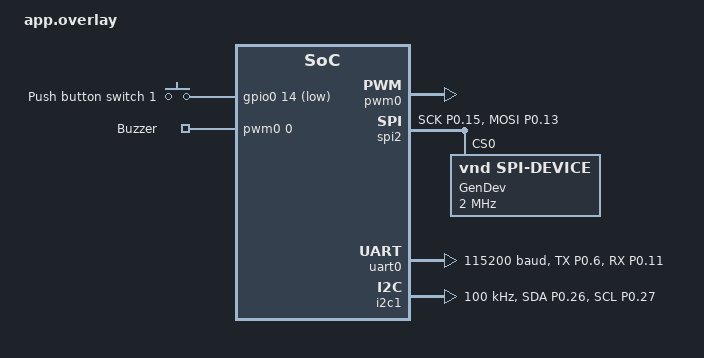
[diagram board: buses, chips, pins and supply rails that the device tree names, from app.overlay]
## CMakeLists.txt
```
cmake_minimum_required(VERSION 3.20.0)
find_package(Zephyr REQUIRED HINTS $ENV{ZEPHYR_BASE})

project(WallNet_1)

zephyr_include_directories(inc)

target_sources(app PRIVATE 
    src/main.c
    src/wallnet_ble.c
    src/wallnet_ui.c
    src/fp_commands.c
    src/fp_commands.h
    src/wallnet_gps.c
    src/buzzer.c
    src/buzzer.h
    src/wallnet_rfid.c
    src/wallnet_rfid.h
    src/eink.h
    src/eink.c
    src/bq.c
)
```

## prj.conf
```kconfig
# Hardware Bus Drivers
CONFIG_I2C=y
CONFIG_GPIO=y
CONFIG_SPI=y
CONFIG_SERIAL=y
CONFIG_UART_INTERRUPT_DRIVEN=y

CONFIG_I2C_NRFX=y
CONFIG_NRFX_TWIM=y

# Console & Logging (RTT)
CONFIG_LOG=y
CONFIG_LOG_DEFAULT_LEVEL=2
CONFIG_CONSOLE=y
CONFIG_PRINTK=y
CONFIG_USE_SEGGER_RTT=y
CONFIG_RTT_CONSOLE=y
CONFIG_UART_CONSOLE=n
CONFIG_SEGGER_RTT_BUFFER_SIZE_UP=4096
CONFIG_CBPRINTF_FP_SUPPORT=y

# BLE
CONFIG_BT=y
CONFIG_BT_PERIPHERAL=y
CONFIG_BT_DEVICE_NAME="WallNet"
CONFIG_MAIN_STACK_SIZE=2048

# BLE Security
CONFIG_BT_SMP=y
CONFIG_BT_BONDABLE=y
CONFIG_BT_MAX_PAIRED=1
CONFIG_SETTINGS=y
CONFIG_BT_SETTINGS=y

# NVS
CONFIG_FLASH=y
CONFIG_FLASH_PAGE_LAYOUT=y
CONFIG_NVS=y
CONFIG_SETTINGS_NVS=y
CONFIG_FLASH_MAP=y

CONFIG_REBOOT=y

CONFIG_INPUT=y

#PWM 
CONFIG_PWM=y
CONFIG_LED=y
```

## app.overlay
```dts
#include <zephyr/dt-bindings/input/input-event-codes.h>
/ {
    aliases {
        sw1 = &button1;
    };

    // whatever main control button is
    buttons {
        compatible = "gpio-keys";
        debounce-interval-ms = <50>;
        
        button1: button_1 {
            gpios = <&gpio0 14 (GPIO_PULL_UP | GPIO_ACTIVE_LOW)>;
            label = "Push button switch 1";
            zephyr,code = <INPUT_KEY_1>;
        };
    };

    /* PWM-controlled buzzer */
    buzzer_pwm: pwm-buzzer {
        compatible = "pwm-leds";

        buzzer0: buzzer_0 {
            label = "Buzzer";
            pwms = <&pwm0 0 250000 125000 0>; /* PWM on pwm0, channel 0, 250000ns period, 50% duty cycle, active high */
        };
    };
};

&pwm0_default {
    group1 {
        psels = <NRF_PSEL(PWM_OUT0, 0, 12)>;
    };
};

&pwm0_sleep {
    group1 {
        psels = <NRF_PSEL(PWM_OUT0, 0, 12)>;
    };
};

&pwm0 {
    status = "okay";

    /* THIS is what selects the GPIO pin */
    pinctrl-0 = <&pwm0_default>;
    pinctrl-names = "default", "sleep";
    
};


&pinctrl {
    /* change below to bmu stuff (idk pins rn - battery schematic) */

    // i2c0_default: i2c0_default {
    //     // gooked up to gps rn
    //     group1 {
    //         psels = <NRF_PSEL(TWIM_SDA, 0, 7)>,
    //                 <NRF_PSEL(TWIM_SCL, 0, 8)>;
    //         bias-pull-up;
    //     };
    // };

    // i2c0_sleep: i2c0_sleep {
    //     group1 {
    //         psels = <NRF_PSEL(TWIM_SDA, 0, 7)>,
    //                 <NRF_PSEL(TWIM_SCL, 0, 8)>;
    //         low-power-enable;
    //     };
    // };

    uart0_default: uart0_default {
        group1 {
        
            // Active pin state - TX on P0.06, RX on P0.11
            psels = <NRF_PSEL(UART_TX, 0, 6)>,
                    <NRF_PSEL(UART_RX, 0, 11)>;
        };
    };
    uart0_sleep: uart0_sleep {
        group1 {

            // Sleep pin state - same pins but low power mode enabled
            psels = <NRF_PSEL(UART_TX, 0, 6)>,
                    <NRF_PSEL(UART_RX, 0, 11)>;
            low-power-enable;
        };
    };

    i2c1_default: i2c1_default {
        group1 {
            psels = <NRF_PSEL(TWIM_SDA, 0, 26)>,
                    <NRF_PSEL(TWIM_SCL, 0, 27)>;
        };
    };

    i2c1_sleep: i2c1_sleep {
        group1 {
            psels = <NRF_PSEL(TWIM_SDA, 0, 26)>,
                    <NRF_PSEL(TWIM_SCL, 0, 27)>;
            low-power-enable;
        };
    };

    spi2_default: spi2_default {
		group1 {
			psels = <NRF_PSEL(SPIM_SCK, 0, 15)>,
				<NRF_PSEL(SPIM_MOSI, 0, 13)>;
		};
	};
	spi2_sleep: spi2_sleep {
		group1 {
			psels = <NRF_PSEL(SPIM_SCK, 0, 15)>,
				<NRF_PSEL(SPIM_MOSI, 0, 13)>;
		};
	};

};

//SPI for eink display - change pins to whatever is on the schematic for eink
&spi2 {
        compatible = "nordic,nrf-spi";
        status = "okay";
        pinctrl-0 = <&spi2_default>;
        pinctrl-1 = <&spi2_sleep>;
        pinctrl-names = "default", "sleep";
        
        gendev: gendev@0 {
                compatible = "vnd,spi-device";
                reg = <0>;
                spi-max-frequency = <2000000>;
                label = "GenDev";
        };
};

/* UART0 peripheral configuration - used for FP data at 115200 baud */
&uart0 {
    status = "okay";
    current-speed = <115200>;
    // state 0: active
    pinctrl-0 = <&uart0_default>;
    // state 1: sleep
    pinctrl-1 = <&uart0_sleep>;
    pinctrl-names = "default", "sleep";
};

// i2c0: BMU READS: change "disabled" to "okay"
&i2c0 {
    status = "disabled";
    pinctrl-0 = <&i2c0_default>;
    pinctrl-1 = <&i2c0_sleep>;
    pinctrl-names = "default", "sleep";
    clock-frequency = <I2C_BITRATE_STANDARD>;
    compatible = "nordic,nrf-twim";

    zephyr,concat-buf-size = <512>;
    zephyr,flash-buf-max-size = <512>;
};

// disable spi1 so we can use i2c1
&spi1 {
    status = "disabled";
};

&i2c1 {
    status = "okay";
    pinctrl-0 = <&i2c1_default>;
    pinctrl-1 = <&i2c1_sleep>;
    pinctrl-names = "default", "sleep";
    clock-frequency = <I2C_BITRATE_STANDARD>;
    compatible = "nordic,nrf-twim";
    
    zephyr,concat-buf-size = <512>;
    zephyr,flash-buf-max-size = <512>;
};
```

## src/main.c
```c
#include <zephyr/kernel.h>
#include <zephyr/logging/log.h>
#include <zephyr/settings/settings.h>

#include "fp_commands.h"

#include "system_state.h"

#include "buzzer.h"
#include "wallnet_rfid.h"

#include "eink.h"
#include "bq.h"


LOG_MODULE_REGISTER(main_app, LOG_LEVEL_INF);
volatile wallnet_state_t sys_current_state = STATE_BOOT_CHECK;

#define RFID_URL_PREFIX "rachelchen22.github.io/#"
#define RFID_PACKET_MAX_LEN (MAX_LAST_FOUR_LEN + MAX_NAME_LEN + MAX_NAME_LEN + \
                             MAX_ENC_PAN_LEN + MAX_ENC_CVV_LEN + MAX_ENC_EXP_LEN + 6)
#define RFID_URL_MAX_LEN (sizeof(RFID_URL_PREFIX) + RFID_PACKET_MAX_LEN)

volatile bool sys_is_connected = false;
volatile bool sys_is_bonded = false;
volatile uint8_t sys_active_card_idx = 0;
volatile uint8_t sys_num_cards = 0;


card_record_t sys_card_slots[MAX_CARDS] = {0};
struct gps_telemetry_t sys_current_gps_payload = {0};
volatile bool sys_have_valid_gps = false;
volatile bool sys_is_armed = false; // For future fingerprint auth / RFID transmission state

// fingerprint queuee
K_THREAD_STACK_DEFINE(fp_workq_stack, 2048);
struct k_work_q fp_workq;
struct k_work_delayable auth_check_work;
struct k_work_delayable rfid_timeout_work;
// enrollment worker
static struct k_work_delayable fp_enroll_work;
uint16_t sys_num_fingers = 0;

int sys_batt_level = 2; // start at high battery until we read from BQ


static int build_rfid_packet(const card_record_t *card, char *packet_buf, size_t packet_buf_size)
{
    size_t first_name_len = strnlen(card->first_name, sizeof(card->first_name));
    size_t last_name_len = strnlen(card->last_name, sizeof(card->last_name));
    size_t last_four_len = strnlen(card->last_four, sizeof(card->last_four));

    int written = snprintk(packet_buf, packet_buf_size,
                           "%.*s|%.*s|%.*s|%.*s|%.*s|%.*s",
                           (int)last_four_len, card->last_four,
                           (int)first_name_len, card->first_name,
                           (int)last_name_len, card->last_name,
                           (int)card->enc_pan_len, card->enc_pan,
                           (int)card->enc_cvv_len, card->enc_cvv,
                           (int)card->enc_exp_len, card->enc_exp);

    if ((written < 0) || ((size_t)written >= packet_buf_size)) {
        LOG_ERR("RFID packet build failed: buffer too small.");
        return -ENOMEM;
    }

    return written;
}

static int build_rfid_url(const card_record_t *card, char *url_buf, size_t url_buf_size)
{
    char packet_buf[RFID_PACKET_MAX_LEN];
    int packet_len = build_rfid_packet(card, packet_buf, sizeof(packet_buf));

    if (packet_len < 0) {
        return packet_len;
    }

    int written = snprintk(url_buf, url_buf_size, "%s%s", RFID_URL_PREFIX, packet_buf);
    if ((written < 0) || ((size_t)written >= url_buf_size)) {
        LOG_ERR("RFID URL build failed: buffer too small.");
        return -ENOMEM;
    }

    return written;
}

// NVM Boot loader
// Called automatically by settings_load()
static int wallet_settings_set(const char *name, size_t len, settings_read_cb read_cb, void *cb_arg)
{
    const char *next;
    int rc;

    if (settings_name_steq(name, "cards", &next) && !next) {
        if ((len > sizeof(sys_card_slots)) || ((len % sizeof(card_record_t)) != 0U)) {
            LOG_ERR("Settings length mismatch for cards! Max %zu, got %zu", sizeof(sys_card_slots), len);
            return -EINVAL;
        }

        memset(sys_card_slots, 0, sizeof(sys_card_slots));

        // Pull data from Flash into our global RAM array
        rc = read_cb(cb_arg, sys_card_slots, len);
        if (rc >= 0) {
            // Boot-up math: Count how many valid cards were just loaded
            sys_num_cards = 0;
            for(int i = 0; i < MAX_CARDS; i++) {
                if (sys_card_slots[i].valid) {
                    sys_num_cards++;
                }
            }
            
            LOG_WRN("--- NVM LOAD SUCCESS ---");
            LOG_WRN("Restored %d cards from storage.", sys_num_cards);
            return 0;
        }
        return rc;
    }

    if (settings_name_steq(name, "finger_count", &next) && !next) {
        uint16_t loaded_finger_count = 0;

        if (len != sizeof(loaded_finger_count)) {
            LOG_ERR("Settings length mismatch for finger_count! Expected %zu, got %zu",
                    sizeof(loaded_finger_count), len);
            return -EINVAL;
        }

        rc = read_cb(cb_arg, &loaded_finger_count, sizeof(loaded_finger_count));
        if (rc >= 0) {
            sys_num_fingers = loaded_finger_count;
            LOG_WRN("Restored %u fingerprints from storage.", sys_num_fingers);
            return 0;
        }
        return rc;
    }

    return -ENOENT;
}


// handler fires after 10 seconds of rfid transmit state
static void rfid_timeout_handler(struct k_work *work) {
    LOG_WRN("RFID Timeout reached. Relocking.");
    
    uint8_t cc[4] = {
        0xE1,
        0x40,
        0x20,
        0x00
    };

    st25dv_write_bytes(0x0000, cc, 4);
    int ret;

    ret = wallnet_rfid_write_url("rachelchen22.github.io/#");


    wallnet_gps_start(); // restart gps after rfid timeout
    sys_is_armed = false;
    sys_current_state = STATE_LOCKED;
    update_eink_display();
    
    // resume fp polling
    k_work_reschedule_for_queue(&fp_workq, &auth_check_work, K_NO_WAIT);
}


static void auth_check_worker(struct k_work *work) {
    char rfid_url[RFID_URL_MAX_LEN];

    // only check auth in locked state, check back in 500ms
    if (sys_current_state != STATE_LOCKED) {
        k_work_reschedule_for_queue(&fp_workq, &auth_check_work, K_MSEC(500));
        return; 
    }

    // poll fp scanner
    if (start_and_identify()) {
        LOG_WRN("Fingerprint Match! Validating RFID Payload...");
        sys_is_armed = true; 

        if ((sys_num_cards == 0) || (sys_active_card_idx >= sys_num_cards)) {
            LOG_ERR("RFID transmit aborted: active card index is invalid.");
        } else {
            int url_len = build_rfid_url(&sys_card_slots[sys_active_card_idx],
                                         rfid_url, sizeof(rfid_url));
            
            if (url_len > 0) {
                LOG_WRN("Built RFID URL: %s", rfid_url);
            } else {
                LOG_ERR("Failed to build RFID URL. Aborting transmit.");
                return;
            }

            sys_current_state = STATE_RFID_TRANSMITTING;
            update_eink_display(); 
            wallnet_gps_stop();// gps off during rfid for i2c
            
            // start RFID timeout clk
            k_work_reschedule(&rfid_timeout_work, K_SECONDS(10));
            
            // stop fp while RFID is active
            k_work_reschedule_for_queue(&fp_workq, &auth_check_work, K_SECONDS(11));

            
            int ret;

            uint8_t cc[4] = {
                0xE1,
                0x40,
                0x20,
                0x00
            };

            st25dv_write_bytes(0x0000, cc, 4);

            ret = wallnet_rfid_write_url(rfid_url);
            printk("length: %d\n", strlen(rfid_url));

        }


    } else { // otherwise restart in 2s
        // LOG_ERR("Bad scan detected. Resting for 2 seconds...");
        k_work_reschedule_for_queue(&fp_workq, &auth_check_work, K_SECONDS(2));
    }
}


// Additional Enrollment Worker
static void fp_enroll_worker(struct k_work *work) {
    uint16_t next_fp_id = sys_num_fingers + 1;

    LOG_WRN("Starting Add Fingerprint routine for ID: %d", next_fp_id);
        
    if (start_and_enroll(next_fp_id, 3, true, true, true, true)) {
        int err;

        LOG_WRN("New fingerprint successfully added!");
        sys_num_fingers++;
        err = wallnet_save_fingerprint_count_to_nvm();
        if (err) {
            LOG_ERR("Fingerprint enrolled, but finger count save failed.");
        }
    } else {
        LOG_ERR("Failed to add fingerprint.");
    }
    
    sys_current_state = STATE_LOCKED;
    update_eink_display();
    
    // Kick the background scanner back on -- 3s wait so dont match immediately and shoot RFID off
    k_work_reschedule_for_queue(&fp_workq, &auth_check_work, K_SECONDS(3));
}

// trigger to start fp enroll
void wallnet_enroll_trigger(void) {
    printk("Enrollment triggered! Starting in 1 second...");
    
    sys_current_state = STATE_ENROLLING;
    update_eink_display();
    
    // Kill fp scanner
    k_work_cancel_delayable(&auth_check_work);
    
    // Schedule the enrollment worker for 1 second in the future
    k_work_reschedule_for_queue(&fp_workq, &fp_enroll_work, K_SECONDS(1));
}

// block off memory for cards in flash so we can write them to NVS/NVM w/ settings_save_one()
static struct settings_handler wallet_conf = {
    .name = "wallet",
    .h_set = wallet_settings_set
};

int wallnet_save_cards_to_nvm(void) {
    int err;

    if (!IS_ENABLED(CONFIG_SETTINGS)) {
        LOG_ERR("Cannot save cards: settings subsystem is disabled.");
        return -ENOTSUP;
    }

    if (sys_num_cards == 0) {
        err = settings_delete("wallet/cards"); // if sending 0 cards, delete wallet? like a user wants to overwrite all cards
    } else {
        err = settings_save_one("wallet/cards", sys_card_slots, sys_num_cards * sizeof(card_record_t));
    }

    if (err) {
        LOG_ERR("Failed to save wallet cards to NVM (%d)", err);
        return err;
    }

    LOG_WRN("Wallet cards saved to NVM.");
    return 0;
}

int wallnet_save_fingerprint_count_to_nvm(void) {
    int err;

    if (!IS_ENABLED(CONFIG_SETTINGS)) {
        LOG_ERR("Cannot save fingerprint count: settings subsystem is disabled.");
        return -ENOTSUP;
    }

    err = settings_save_one("wallet/finger_count", &sys_num_fingers, sizeof(sys_num_fingers));
    if (err) {
        LOG_ERR("Failed to save finger_count to NVM (%d)", err);
        return err;
    }

    LOG_WRN("Fingerprint count saved to NVM: %u", sys_num_fingers);
    return 0;
}

// trigger to start fp auth
void wallnet_auth_trigger(void) {
    k_work_reschedule_for_queue(&fp_workq, &auth_check_work, K_NO_WAIT);
}


int main(void)
{

    int err;
    printk("WallNet Booting...");

    wallnet_ble_init();
    //Note for Austin: to work without gps, comment out wallnet_gps_init() and wallnet_gps.c : wallnet_gps_start()
    wallnet_gps_init(); // takes care of gps_conf before settings_load()
    wallnet_ui_init();

    if (eink_init() != 0) {
            printk("Failed to initialize eink\n");
            return -1;
    }
    

    buzzer_init();

    wallnet_rfid_init();
    BQ_init();
    BQ_start_periodic_read();


    
    // NVM storage for cards/gps
    if (IS_ENABLED(CONFIG_SETTINGS)) {
        err = settings_register(&wallet_conf);
        if (err) {
            LOG_ERR("Failed to register settings handler (err %d)", err);
        }

        // triggers ALL registered settings_handlers
        err = settings_load();
        if (err) {
            LOG_ERR("Settings load failed (err %d)", err);
        }
    }

    // fingerprint work threads
    k_work_queue_start(&fp_workq, fp_workq_stack, K_THREAD_STACK_SIZEOF(fp_workq_stack), 7, NULL);
    k_work_init_delayable(&auth_check_work, auth_check_worker);
    k_work_init_delayable(&rfid_timeout_work, rfid_timeout_handler);
    k_work_init_delayable(&fp_enroll_work, fp_enroll_worker);


    if (sys_num_cards == 0) {
        sys_current_state = STATE_INIT_WAIT_ENROLL;
        printk("Entering First-Time Setup.");
        
    } else { // if we have cards, we must have fingerprint so go right into locked
        sys_current_state = STATE_LOCKED;
        printk("Existing data found. Vault Locked.");
        wallnet_ble_adv_start(); // Automatically start searching for phone

        fp_init();
        k_work_reschedule_for_queue(&fp_workq, &auth_check_work, K_NO_WAIT);
    }

    printk("Fingerprint/Bluetooth setup, moving on to event interrupts.");
    
    update_eink_display();

    // Main Loop
    while (1) {
        k_sleep(K_FOREVER);
    }

    return 0;
}
```

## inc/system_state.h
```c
#ifndef SYSTEM_STATE_H
#define SYSTEM_STATE_H

#include <stdbool.h>
#include <stdint.h>
#include <stddef.h>

#define MAX_CARDS 16

// Main WallNet State Machine
typedef enum {
    STATE_BOOT_CHECK,            // Check for existing fingerprint on boot
    STATE_INIT_WAIT_ENROLL,      // First-time setup gate; waiting for user to start scanner w/ button press
    STATE_ENROLLING,             // Fingerprint enrollment process active; wait for success or timeout
    STATE_INIT_WAIT_PAIRING,     // Second setup gate; waiting for user to press button to start BLE advertising/paring processs
    STATE_PAIRING_ADVERTISING,   // BLE radio active; wait for BT connection and pairing success / or timeout
    STATE_LOCKED,                // Default regular state; E-ink masked, RFID off
    STATE_BLE_SYNCING,           // Active BLE write; locking out button presses, wait for card data to finish syncing, back to LOCKED
    STATE_RFID_TRANSMITTING,     // Auth successful; RFID broadcasting single selected card -> back to LOCKED after timeout... or successful write?
    STATE_RESET                  // Factory reset state, wipes cards/gps from NVM and resets system
} wallnet_state_t;

#define MAX_NAME_LEN 20
#define MAX_LAST_FOUR_LEN 5 // 4 digits + null terminator
#define MAX_ENC_PAN_LEN 44 // update this and 2 below once length is finalized (i can't test encryption rn)
#define MAX_ENC_CVV_LEN 24  
#define MAX_ENC_EXP_LEN 24  

// new encrypted card struct

#ifndef CARD_RECORD
#define CARD_RECORD
typedef struct {
    bool valid;
    char first_name[MAX_NAME_LEN];
    char last_name[MAX_NAME_LEN];
    char last_four[MAX_LAST_FOUR_LEN];
    
    uint8_t enc_pan[MAX_ENC_PAN_LEN];
    uint8_t enc_pan_len;
    
    uint8_t enc_cvv[MAX_ENC_CVV_LEN];
    uint8_t enc_cvv_len;
    
    uint8_t enc_exp[MAX_ENC_EXP_LEN];
    uint8_t enc_exp_len;
} card_record_t;

#endif // CARD_RECORD


// packed so it doesn't pad 0s and let's me keep 14 byte packet struct
struct __attribute__((__packed__)) gps_telemetry_t {
    int32_t latitude;
    int32_t longitude;
    uint32_t time_raw;
    uint8_t sats_and_fix;
    uint8_t hdop_scaled;
};

extern volatile wallnet_state_t sys_current_state;
extern volatile bool sys_is_armed;
extern volatile bool sys_is_connected;
extern volatile bool sys_is_bonded;
extern volatile uint8_t sys_active_card_idx;
extern volatile uint8_t sys_num_cards;

extern card_record_t sys_card_slots[MAX_CARDS];
extern struct gps_telemetry_t sys_current_gps_payload;
extern volatile bool sys_have_valid_gps;

extern struct k_work_q fp_workq;
extern struct k_work_delayable auth_check_work;

void wallnet_ble_init(void);
void wallnet_ble_adv_start(void);
void wallnet_ble_adv_stop(void);

void wallnet_ui_init(void);
void update_eink_display(void);

void wallnet_auth_init(void);

void wallnet_gps_init(void);
void wallnet_gps_start(void);
void wallnet_gps_stop(void);
void wallnet_ble_notify_gps(void);

void wallnet_auth_trigger(void);
int wallnet_save_cards_to_nvm(void);
int wallnet_save_fingerprint_count_to_nvm(void);

extern uint16_t sys_num_fingers;
void wallnet_enroll_trigger(void);


int BQ_init(void);
int BQ_status(void);
int BQ_ret_batt(void);
int BQ_write(uint8_t reg, uint8_t value);
extern int sys_batt_level; // 0, 1, or 2 for low, medium, high



#endif // SYSTEM_STATE_H
```

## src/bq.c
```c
#include <zephyr/kernel.h>
#include <zephyr/device.h>
#include <zephyr/drivers/i2c.h>
#include <zephyr/logging/log.h>
#include "system_state.h"

LOG_MODULE_REGISTER(wallnet_bq, LOG_LEVEL_INF);

#define I2C_NODE DT_NODELABEL(i2c1)
#define BQ_ADDR  0x6A

static const struct device *i2c_dev;
static struct k_work_delayable bq_read_work;

/* ---------- read ---------- */
static int BQ_read_reg(uint8_t reg, uint8_t *data)
{
	return i2c_write_read(i2c_dev, BQ_ADDR, &reg, 1, data, 1);
}

/* ---------- battery processing ---------- */

static int BQ_get_batt_level(void)
{
	uint8_t temp;

	if (BQ_read_reg(0x0E, &temp)) {
		LOG_ERR("BQ read failed you dum b chud");
		return -1;
	}

	uint8_t val = temp & 0x7F;
	int mv = 2304 + (val * 20);

	if (mv < 3400) return 0;
	else if (mv < 3800) return 1;
	else return 2;
}

static void bq_read_worker(struct k_work *work) {

	wallnet_gps_stop(); 

	int batt_level = BQ_get_batt_level();

	sys_batt_level = batt_level;
}



/* ---------- init ---------- */

int BQ_init(void)
{
    i2c_dev = DEVICE_DT_GET(I2C_NODE);

    if (!device_is_ready(i2c_dev)) {
        return -1;
    }

    BQ_write(0x02, 0x3C);
    BQ_write(0x04, 0x08);

    k_work_init_delayable(&bq_read_work, bq_read_worker);
    k_work_reschedule(&bq_read_work, K_NO_WAIT);

    return 0;
}

int BQ_write(uint8_t reg, uint8_t value)
{
    uint8_t buf[2] = {reg, value};
    return i2c_write(i2c_dev, buf, 2, 0x6A);
}
```

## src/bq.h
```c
#ifndef BQ_H
#define BQ_H

#include <stdint.h>

int BQ_init(void);
int BQ_status(void);
int BQ_ret_batt(void);
int BQ_write(uint8_t reg, uint8_t value);

#endif
```

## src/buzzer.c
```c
#include <zephyr/device.h>
#include <zephyr/devicetree.h>
#include <zephyr/drivers/led.h>
#include <zephyr/logging/log.h>
#include "buzzer.h"

uint8_t sys_buzzer_state = 0;

/* IMPORTANT: use pwm-leds PARENT node */
#define BUZZER_NODE DT_NODELABEL(buzzer_pwm)

static const struct device *led_dev = DEVICE_DT_GET(BUZZER_NODE);

void buzzer_init(void) {
    if (!device_is_ready(led_dev)) {
        printk("Buzzer not ready!\n");
        return;
    }

    led_off(led_dev, 0);
}

void buzzer_toggle(void) {
    sys_buzzer_state = !sys_buzzer_state;

    if (sys_buzzer_state) {
        led_set_brightness(led_dev, 0, 128);
        printk("Buzzer ON\n");
    } else {
        led_off(led_dev, 0);
        printk("Buzzer OFF\n");
    }
}
```

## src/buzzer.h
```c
#ifndef BUZZER_H
#define BUZZER_H

#include <zephyr/drivers/gpio.h>
#include <zephyr/logging/log.h>
#include <stdint.h>

// Buzzer GPIO pin definition (change as needed for your board)
#define BUZZER_PIN 14  // example pin

// Buzzer state (0 = OFF, 1 = ON)
extern uint8_t sys_buzzer_state;

// GPIO device used for the buzzer
extern const struct device *gpio_dev;

void buzzer_init(void);
void buzzer_toggle(void);

#endif // BUZZER_H
```

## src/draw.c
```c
#include <stdlib.h>
#include <stdint.h>
#include <string.h>
#include <stdio.h>
#include "eink.h"

void saveRawPBM(const char* filename, uint8_t* buffer, int width, int height);
int draw(char* string, int x, int y);
int drawScaled(char* string, int startX, int startY);
int drawLarge(char* string);
void reset_framebuff();
void drawCentered(char* string);

#define WIDTH 256
#define HEIGHT 120


uint8_t frameBuffer[IMG_BUF_SIZE];
uint8_t frameBufferCpy[IMG_BUF_SIZE];

static inline void setTransformedPixel(int x_src, int y_src) {
    if (x_src < 0 || x_src >= WIDTH || y_src < 0 || y_src >= HEIGHT) {
        return;
    }

    int x_dst = y_src;
    int y_dst = (EPD_HEIGHT - 1) - x_src;  // 🔥 Y-axis flip

    if (x_dst < 0 || x_dst >= EPD_WIDTH || y_dst < 0 || y_dst >= EPD_HEIGHT) {
        return;
    }

    int bytesPerRow = (EPD_WIDTH + 7) / 8;
    int dstIndex = y_dst * bytesPerRow + (x_dst / 8);
    int dstBit = 7 - (x_dst % 8);

    frameBuffer[dstIndex] |= (1 << dstBit);
}

uint8_t alph[][12]={
/*-- 0  --*/
{0x00,0x00,0x70,0x88,0x88,0x88,0x88,0x88,0x88,0x70,0x00,0x00},
/*-- 1  --*/
{0x00,0x00,0x20,0x60,0x20,0x20,0x20,0x20,0x20,0x70,0x00,0x00},
/*-- 2  --*/
{0x00,0x00,0x70,0x88,0x88,0x10,0x20,0x40,0x80,0xF8,0x00,0x00},
/*-- 3  --*/
{0x00,0x00,0x70,0x88,0x08,0x30,0x08,0x08,0x88,0x70,0x00,0x00},
/*-- 4  --*/
{0x00,0x00,0x10,0x30,0x50,0x50,0x90,0x78,0x10,0x18,0x00,0x00},
/*-- 5  --*/
{0x00,0x00,0xF8,0x80,0x80,0xF0,0x08,0x08,0x88,0x70,0x00,0x00},
/*-- 6  --*/
{0x00,0x00,0x70,0x90,0x80,0xF0,0x88,0x88,0x88,0x70,0x00,0x00},
/*-- 7  --*/
{0x00,0x00,0xF8,0x90,0x10,0x20,0x20,0x20,0x20,0x20,0x00,0x00},
/*-- 8  --*/
{0x00,0x00,0x70,0x88,0x88,0x70,0x88,0x88,0x88,0x70,0x00,0x00},
/*-- 9  --*/
{0x00,0x00,0x70,0x88,0x88,0x88,0x78,0x08,0x48,0x70,0x00,0x00},

/*-- a  --*/
{0x00,0x00,0x00,0x00,0x00,0x30,0x48,0x38,0x48,0x3C,0x00,0x00},
/*-- b  --*/
{0x00,0x00,0xC0,0x40,0x40,0x70,0x48,0x48,0x48,0x70,0x00,0x00},
/*-- c  --*/
{0x00,0x00,0x00,0x00,0x00,0x38,0x48,0x40,0x40,0x38,0x00,0x00},
/*-- d  --*/
{0x00,0x00,0x18,0x08,0x08,0x38,0x48,0x48,0x48,0x3C,0x00,0x00},
/*-- e  --*/
{0x00,0x00,0x00,0x00,0x00,0x30,0x48,0x78,0x40,0x38,0x00,0x00},
/*-- f  --*/
{0x00,0x00,0x1C,0x20,0x20,0x78,0x20,0x20,0x20,0x78,0x00,0x00},
/*-- g  --*/
{0x00,0x00,0x00,0x00,0x00,0x3C,0x48,0x30,0x40,0x78,0x44,0x38},
/*-- h  --*/
{0x00,0x00,0xC0,0x40,0x40,0x70,0x48,0x48,0x48,0xEC,0x00,0x00},
/*-- i  --*/
{0x00,0x00,0x20,0x00,0x00,0x60,0x20,0x20,0x20,0x70,0x00,0x00},
/*-- j  --*/
{0x00,0x00,0x10,0x00,0x00,0x30,0x10,0x10,0x10,0x10,0x10,0xE0},
/*-- k  --*/
{0x00,0x00,0xC0,0x40,0x40,0x5C,0x50,0x70,0x48,0xEC,0x00,0x00},
/*-- l  --*/
{0x00,0x00,0xE0,0x20,0x20,0x20,0x20,0x20,0x20,0xF8,0x00,0x00},
/*-- m  --*/
{0x00,0x00,0x00,0x00,0x00,0xF0,0xA8,0xA8,0xA8,0xA8,0x00,0x00},
/*-- n  --*/
{0x00,0x00,0x00,0x00,0x00,0xF0,0x48,0x48,0x48,0xEC,0x00,0x00},
/*-- o  --*/
{0x00,0x00,0x00,0x00,0x00,0x30,0x48,0x48,0x48,0x30,0x00,0x00},
/*-- p  --*/
{0x00,0x00,0x00,0x00,0x00,0xF0,0x48,0x48,0x48,0x70,0x40,0xE0},
/*-- q  --*/
{0x00,0x00,0x00,0x00,0x00,0x38,0x48,0x48,0x48,0x38,0x08,0x1C},
/*-- r  --*/
{0x00,0x00,0x00,0x00,0x00,0xD8,0x60,0x40,0x40,0xE0,0x00,0x00},
/*-- s  --*/
{0x00,0x00,0x00,0x00,0x00,0x78,0x40,0x30,0x08,0x78,0x00,0x00},
/*-- t  --*/
{0x00,0x00,0x00,0x20,0x20,0x70,0x20,0x20,0x20,0x18,0x00,0x00},
/*-- u  --*/
{0x00,0x00,0x00,0x00,0x00,0xD8,0x48,0x48,0x48,0x3C,0x00,0x00},
/*-- v  --*/
{0x00,0x00,0x00,0x00,0x00,0xEC,0x48,0x50,0x30,0x20,0x00,0x00},
/*-- w  --*/
{0x00,0x00,0x00,0x00,0x00,0xA8,0xA8,0x70,0x50,0x50,0x00,0x00},
/*-- x  --*/
{0x00,0x00,0x00,0x00,0x00,0xD8,0x50,0x20,0x50,0xD8,0x00,0x00},
/*-- y  --*/
{0x00,0x00,0x00,0x00,0x00,0xEC,0x48,0x50,0x30,0x20,0x20,0xC0},
/*-- z  --*/
{0x00,0x00,0x00,0x00,0x00,0x78,0x10,0x20,0x20,0x78,0x00,0x00},

/*--     --*/
{0x00,0x00,0x00,0x00,0x00,0x00,0x00,0x00,0x00,0x00,0x00,0x00},
/*-- Error --*/
{0xAA,0x55,0xAA,0x55,0xAA,0x55,0xAA,0x55,0xAA,0x55,0xAA,0x55},
};   

static uint16_t alph_scaled[sizeof(alph) / sizeof(alph[0])][24];
static int alph_scaled_ready = 0;

static void buildAlphScaled(float scale, int out_width, int out_height, uint16_t* output, int row_size) {
    int chars = sizeof(alph) / sizeof(alph[0]);
    for (int ci = 0; ci < chars; ci++) {
        for (int ry = 0; ry < out_height; ry++) {
            int sy = (int)((ry * 12) / out_height);
            if (sy >= 12) sy = 11;
            uint16_t row = 0;
            for (int rx = 0; rx < out_width; rx++) {
                int sx = (int)((rx * 8) / out_width);
                if (sx >= 8) sx = 7;
                if (alph[ci][sy] & (1 << (7 - sx))) {
                    row |= (1u << (15 - rx));
                }
            }
            output[ci * row_size + ry] = row;
        }
    }
}

static int twoXWidth = 16;
static int twoXHeight = 24;
static int vertical_border = 4;
static int horizontal_border = 10;
static void buildAlph2x(void) {
    if (alph_scaled_ready) {
        return;
    }
    buildAlphScaled(2.0, twoXWidth, twoXHeight, (uint16_t*)alph_scaled, twoXHeight);
    alph_scaled_ready = 1;
}

const uint16_t digits[11][24] = {
    // 0
    {
        0x0000,0x0000,0x0000,0x0000,
        0x1F80,0x30C0,0x6060,0x6060,
        0x60E0,0x61E0,0x6360,0x6660,
        0x6C60,0x7860,0x7060,0x6060,
        0x6060,0x30C0,0x1F80,0x0000,
        0x0000,0x0000,0x0000,0x0000
    },

    // 1
    {
        0x0000,0x0000,0x0000,0x0000,
        0x0E00,0x1E00,0x3600,0x2600,
        0x0600,0x0600,0x0600,0x0600,
        0x0600,0x0600,0x0600,0x0600,
        0x0600,0x0600,0x3FC0,0x0000,
        0x0000,0x0000,0x0000,0x0000
    },

    // 2
    {
        0x0000,0x0000,0x0000,0x0000,
        0x1F80,0x30C0,0x6060,0x0060,
        0x0060,0x0060,0x00C0,0x0180,
        0x0300,0x0600,0x0C00,0x1800,
        0x3000,0x6060,0x7FE0,0x0000,
        0x0000,0x0000,0x0000,0x0000
    },

    // 3
    {
        0x0000,0x0000,0x0000,0x0000,
        0x1F80,0x30C0,0x6060,0x0060,
        0x0060,0x00C0,0x0F80,0x00C0,
        0x0060,0x0060,0x0060,0x0060,
        0x6060,0x30C0,0x1F80,0x0000,
        0x0000,0x0000,0x0000,0x0000
    },

    // 4
    {
        0x0000,0x0000,0x0000,0x0000,
        0x6000,0x6000,0x6000,0x6180,
        0x6180,0x6180,0x6180,0x6180,
        0x6180,0x6180,0x7FE0,0x0180,
        0x0180,0x0180,0x0180,0x0000,
        0x0000,0x0000,0x0000,0x0000
    },

    // 5
    {
        0x0000,0x0000,0x0000,0x0000,
        0x7FE0,0x6060,0x6000,0x6000,
        0x6000,0x6000,0x7F80,0x00C0,
        0x0060,0x0060,0x0060,0x0060,
        0x6060,0x30C0,0x1F80,0x0000,
        0x0000,0x0000,0x0000,0x0000
    },

    // 6
    {
        0x0000,0x0000,0x0000,0x0000,
        0x1FC0,0x3060,0x6000,0x6000,
        0x6000,0x6000,0x7F80,0x60C0,
        0x6060,0x6060,0x6060,0x6060,
        0x6060,0x30C0,0x1F80,0x0000,
        0x0000,0x0000,0x0000,0x0000
    },

    // 7
    {
        0x0000,0x0000,0x0000,0x0000,
        0x7FE0,0x6060,0x0060,0x0060,
        0x0060,0x00C0,0x0180,0x0300,
        0x0600,0x0C00,0x0C00,0x0C00,
        0x0C00,0x0C00,0x0C00,0x0000,
        0x0000,0x0000,0x0000,0x0000
    },

    // 8
    {
        0x0000,0x0000,0x0000,0x0000,
        0x1F80,0x30C0,0x6060,0x6060,
        0x6060,0x30C0,0x1F80,0x30C0,
        0x6060,0x6060,0x6060,0x6060,
        0x6060,0x30C0,0x1F80,0x0000,
        0x0000,0x0000,0x0000,0x0000
    },

    // 9
    {
        0x0000,0x0000,0x0000,0x0000,
        0x1F80,0x30C0,0x6060,0x6060,
        0x6060,0x6060,0x6060,0x3060,
        0x1FE0,0x0060,0x0060,0x0060,
        0x0060,0x60C0,0x3F80,0x0000,
        0x0000,0x0000,0x0000,0x0000
    },
    //BROKEN
    {
    0x0000, 0x0000, 0x0000, 0x0000, 
    0x0000, 0x0000, 0x0000, 0x0000, 
    0x0000, 0x0800, 0x0800, 0x0800, 
    0x6B60, 0x1C70, 0x0800, 0x1C70, 
    0x0800, 0x6B60, 0x0800, 0x0800, 
    0x0000, 0x0000, 0x0000, 0x0000
    }
};


const uint8_t batt[][48] = { //16 x 24
    // =========================
    // 0% EMPTY
    // =========================
    {
        0x00,0x00, 0x00,0x03,0xFF,0xFE,
        0x02,0x00, 0x02,0x02,0x00,0x02,
        0x7E,0x00, 0x02,0x7E,0x00,0x02,
        0x7E,0x00, 0x02,0x7E,0x00,0x02,
        0x7E,0x00, 0x02,0x7E,0x00,0x02,
        0x7E,0x00, 0x02,0x7E,0x00,0x02,
        0x7E,0x00, 0x02,0x02,0x00,0x02,
        0x02,0x00, 0x02,0x03,0xFF,0xFE
    },

    // =========================
    // 25% (low fill)
    // =========================
    {
        0x00,0x00, 0x00,0x03,0xFF,0xFE,
        0x02,0x00, 0x02,0x02,0x00,0x02,
        0x6E,0x00, 0x02,0x6E,0x00,0x02,
        0x6E,0x00, 0x02,0x6E,0x00,0x02,
        0x6E,0x00, 0x02,0x6E,0x00,0x02,
        0x7E,0x00, 0x02,0x7E,0x00,0x02,
        0x7E,0x00, 0x02,0x02,0x00,0x02,
        0x02,0x00, 0x02,0x03,0xFF,0xFE
    },

    // =========================
    // 50%
    // =========================
    {
        0x00,0x00, 0x00,0x03,0xFF,0xFE,
        0x02,0x00, 0x02,0x02,0x00,0x02,
        0x4E,0x00, 0x02,0x4E,0x00,0x02,
        0x4E,0x00, 0x02,0x4E,0x00,0x02,
        0x4E,0x00, 0x02,0x4E,0x00,0x02,
        0x6E,0x00, 0x02,0x6E,0x00,0x02,
        0x7E,0x00, 0x02,0x02,0x00,0x02,
        0x02,0x00, 0x02,0x03,0xFF,0xFE
    },

    // =========================
    // 75%
    // =========================
    {
        0x00,0x00, 0x00,0x03,0xFF,0xFE,
        0x02,0x00, 0x02,0x02,0x00,0x02,
        0x2E,0x00, 0x02,0x2E,0x00,0x02,
        0x2E,0x00, 0x02,0x2E,0x00,0x02,
        0x2E,0x00, 0x02,0x2E,0x00,0x02,
        0x4E,0x00, 0x02,0x4E,0x00,0x02,
        0x7E,0x00, 0x02,0x02,0x00,0x02,
        0x02,0x00, 0x02,0x03,0xFF,0xFE
    },

    // =========================
    // 100% FULL
    // =========================
    {
        0x00,0x00, 0x00,0x03,0xFF,0xFE,
        0x02,0x00, 0x02,0x02,0x00,0x02,
        0xEE,0x00, 0x02,0xEE,0x00,0x02,
        0xEE,0x00, 0x02,0xEE,0x00,0x02,
        0xEE,0x00, 0x02,0xEE,0x00,0x02,
        0xEE,0x00, 0x02,0xEE,0x00,0x02,
        0xEE,0x00, 0x02,0x02,0x00,0x02,
        0x02,0x00, 0x02,0x03,0xFF,0xFE
    }
};
//     { //Empty
//         0x00, 0x00, 0x00, 0x03, 0xFF, 
//         0xFE, 0x02, 0x00, 0x02, 0x02, 
//         0x00, 0x02, 0x7E, 0x00, 0x02, 
//         0x7E, 0x00, 0x02, 0x7E, 0x00, 
//         0x02, 0x7E, 0x00, 0x02, 0x7E, 
//         0x00, 0x02, 0x7E, 0x00, 0x02, 
//         0x7E, 0x00, 0x02, 0x7E, 0x00, 
//         0x02, 0x02, 0x00, 0x02, 0x02, 
//         0x00, 0x02, 0x03, 0xFF, 0xFE, 
//         0x00, 0x00, 0x00
//     },
//     {

//     },
//     { //3/4 Battery
//         0x00, 0x00, 0x00, 0x03, 0xFF,
//         0xFE, 0x02, 0x00, 0x02, 0x02,
//         0x0F, 0x7A, 0x7E, 0x0F, 0x7A,
//         0x7E, 0x0F, 0x7A, 0x7E, 0x0F,
//         0x7A, 0x7E, 0x0F, 0x7A, 0x7E,
//         0x0F, 0x7A, 0x7E, 0x0F, 0x7A,
//         0x7E, 0x0F, 0x7A, 0x7E, 0x0F,
//         0x7A, 0x02, 0x0F, 0x7A, 0x02,
//         0x00, 0x02, 0x03, 0xFF, 0xFE,
//         0x00, 0x00, 0x00
//     },
//     {//Full Battery
//         0x00, 0x00, 0x00, 0x03, 0xFF,
//         0xFE, 0x02, 0x00, 0x02, 0x02,
//         0xEF, 0x7A, 0x7E, 0xEF, 0x7A,
//         0x7E, 0xEF, 0x7A, 0x7E, 0xEF,
//         0x7A, 0x7E, 0xEF, 0x7A, 0x7E,
//         0xEF, 0x7A, 0x7E, 0xEF, 0x7A,
//         0x7E, 0xEF, 0x7A, 0x7E, 0xEF,
//         0x7A, 0x02, 0xEF, 0x7A, 0x02,
//         0x00, 0x02, 0x03, 0xFF, 0xFE,
//         0x00, 0x00, 0x00
//     }

// };

// int main() {



//     //drawCentered("********01234");
//     drawLarge("WOW letters and numbers only 12345");
//     //saveRawPBM("Out.pbm", frameBuffer, WIDTH, HEIGHT);
//     printf("We done");
// }



void drawCentered(char* string) {
    int len = strlen(string);
    int startX = 0;
    int startY = (HEIGHT - 24) / 2;

    for (int i = 0; i < len; i++) {
        // 2. Get character data (using your previous mapping logic)
        const uint16_t* drawChar;
        char c = string[i];
        
        if (c >= '0' && c <= '9')      drawChar = digits[c - '0'];
        else                           drawChar = digits[11];

        // 3. Draw the character
        for (int j = 0; j < 24; j++) {
            uint16_t rowData = drawChar[j];
            int currentY = startY + j;
            
            // Calculate pixel position for the start of this character
            int currentX = startX + (i * 12);

            // Since we are bit-packed, we have to be careful with 12-pixel widths.
            // We draw bit-by-bit to ensure we don't overwrite neighboring chars.
            for (int bit = 0; bit < 12; bit++) {
                if (rowData & (1 << (15 - bit))) {
                    int pixelX = currentX + bit;
                    setTransformedPixel(pixelX, currentY);
                }
            }
        }
    }
}

int displayCard(card_record_t cardData){
    Reset();
    reset_framebuff();
    if (cardData.valid) {
        drawScaled(cardData.last_four, horizontal_border, vertical_border);
        char fullName[40];
        sprintf(fullName, "%s %s", cardData.first_name, cardData.last_name);
        drawScaled(fullName, horizontal_border, twoXHeight + vertical_border);
    }

    Display(frameBuffer);
    return 0;
}

int displayErr(char* errMsg){
    Reset();
    if(alph_scaled_ready == 0){
        buildAlph2x();
    }
    int startX = horizontal_border; 
    int startY = (twoXHeight * 3) + vertical_border; 

    // Clear from the start point to the end of the image.
    // On the first row, clear from startX to the right edge.
    // On following rows, clear the full width.
    for (int y = startY; y < HEIGHT; y++) {
        int xBegin = (y == startY) ? startX : 0;
        for (int x = xBegin; x < WIDTH; x++) {
            int x_dst = y;
            int y_dst = (EPD_HEIGHT - 1) - x;

            if (x_dst < 0 || x_dst >= EPD_WIDTH || y_dst < 0 || y_dst >= EPD_HEIGHT) {
                continue;
            }

            int bytesPerRow = (EPD_WIDTH + 7) / 8;
            int dstIndex = y_dst * bytesPerRow + (x_dst / 8);
            int dstBit = 7 - (x_dst % 8);

            frameBuffer[dstIndex] &= ~(1 << dstBit);
        }
    }

    drawScaled(errMsg, startX, startY); 
    
    Display(frameBuffer);

    return 0;

}

void displayBattery(int level) {
    Reset();

    if (level < 0) level = 0;
    if (level > 2) level = 2;

    // ----------------------------
    // TEXT LABELS FOR LEVELS
    // ----------------------------
    char* label;

    switch(level) {
        case 0: label = "EMPTY"; break;
        case 1: label = "LOW"; break;
        case 2: label = "FULL"; break;
        default: label = "ERR"; break;
    }

    const int bw = 24;
    const int bh = 16;

    int startX = WIDTH - (2 * bw);
    int startY = 0;

    // ----------------------------
    // 1. CLEAR EXACT SAME TRANSFORMED PIXELS
    // ----------------------------
    for (int y = 0; y < bh; y++) {
        for (int x = 0; x < bw; x++) {

            int x_src = startX + x;
            int y_src = startY + y;

            int x_dst = y_src;
            int y_dst = (EPD_HEIGHT - 1) - x_src;

            if (x_dst < 0 || x_dst >= EPD_WIDTH ||
                y_dst < 0 || y_dst >= EPD_HEIGHT) {
                continue;
            }

            int bytesPerRow = (EPD_WIDTH + 7) / 8;
            int dstIndex = y_dst * bytesPerRow + (x_dst / 8);
            int dstBit = (x_dst % 8);

            frameBuffer[dstIndex] &= ~(1 << dstBit);
        }
    }

    // ----------------------------
    // 2. DRAW TEXT INSTEAD OF ICON
    // ----------------------------
    draw(label, startX, startY);

    Display(frameBuffer);
}

// int clearError(){
//     int startX = horizontal_border;
//     int startY = (twoXHeight * 3) + vertical_border;

//     drawScaled(errMsg, startX, startY);

//     return 0;
// }

void reset_framebuff(){
    buildAlph2x();
    for (int i = 0; i < IMG_BUF_SIZE; i++) {
        frameBuffer[i] = 0;
    }
}

int draw(char* string, int startX, int startY){
    int charPerRow = 16;

    for(int i = 0; string[i] != '\0'; i++){
        if(i >= 10 * charPerRow){
            draw("String too long", startX, startY);
            return -1;
        }

        char curChar = string[i];
        const uint8_t* drawChar;

        if (curChar >= '0' && curChar <= '9') {
            drawChar = alph[curChar - '0'];
        }
        else if (curChar >= 'A' && curChar <= 'Z') {
            drawChar = alph[curChar - 'A' + 10];
        }
        else if (curChar >= 'a' && curChar <= 'z') {
            drawChar = alph[curChar - 'a' + 10];
        }
        else if (curChar == ' ') {
            drawChar = alph[36];
        }
        else {
            drawChar = alph[37];
        }

        int charX = i % charPerRow;
        int charY = i / charPerRow;

        int baseX = startX + charX * 8;
        int baseY = startY + charY * 12;

        for(int j = 0; j < 12; j++) {
            uint8_t row = drawChar[j];
            int y_src = baseY + j;

            for (int bit = 0; bit < 8; bit++) {
                if (row & (1 << (7 - bit))) {
                    int x_src = baseX + bit;
                    setTransformedPixel(x_src, y_src);
                }
            }
        }
    }

    return 0;
}

int drawScaled(char* string, int startX, int startY) {
    int usableWidth = WIDTH - startX;
    int charPerRow = usableWidth / 16;

    if (charPerRow <= 0) {
        return -1;
    }

    for (int i = 0; string[i] != '\0'; i++) {
        if (i >= 10 * charPerRow) {
            return -1;
        }

        const uint16_t* drawChar;
        char c = string[i];

        if (c >= '0' && c <= '9')      drawChar = alph_scaled[c - '0'];
        else if (c >= 'A' && c <= 'Z') drawChar = alph_scaled[c - 'A' + 10];
        else if (c >= 'a' && c <= 'z') drawChar = alph_scaled[c - 'a' + 10];
        else if (c == ' ')             drawChar = alph_scaled[36];
        else                           drawChar = alph_scaled[37];

        int charX = i % charPerRow;
        int charY = i / charPerRow;

        for (int j = 0; j < 24; j++) {
            uint16_t row = drawChar[j];
            int y_src = startY + charY * 24 + j;
            if (y_src >= HEIGHT) continue;

            for (int bit = 0; bit < 16; bit++) {
                if (row & (1 << (15 - bit))) {
                    int x_src = startX + charX * 16 + bit;
                    if (x_src >= WIDTH) continue;
                    setTransformedPixel(x_src, y_src);
                }
            }
        }
    }
    return 0;
}

int drawLarge(char* string) {
    reset_framebuff();
    int charPerRow = 16;        // 256 pixels / 16 pixels per char = 16

    for (int i = 0; string[i] != '\0'; i++) {
        if (i >= 5 * charPerRow) {
            reset_framebuff();
            drawLarge("String too long");
            return -1;
        }
        const uint8_t* drawChar;
        char c = string[i];

        if (c >= '0' && c <= '9')      drawChar = alph[c - '0'];
        else if (c >= 'A' && c <= 'Z') drawChar = alph[c - 'A' + 10];
        else if (c >= 'a' && c <= 'z') drawChar = alph[c - 'a' + 10];
        else if (c == ' ')             drawChar = alph[36];
        else                           drawChar = alph[37];

        int charX = i % charPerRow;
        int charY = i / charPerRow;

        for (int j = 0; j < 12; j++) {
            uint8_t fontByte = drawChar[j];
            uint16_t expandedRow = 0;

            for (int bit = 0; bit < 8; bit++) {
                if (fontByte & (1 << (7 - bit))) {
                    expandedRow |= (3 << (14 - (bit * 2)));
                }
            }

            for (int v = 0; v < 2; v++) {
                int pixelRow = (charY * 24) + (j * 2 + v);
                if (pixelRow >= HEIGHT) continue;

                for (int bit = 0; bit < 16; bit++) {
                    if (expandedRow & (1 << (15 - bit))) {
                        int x_src = charX * 16 + bit;
                        int y_src = pixelRow;
                        setTransformedPixel(x_src, y_src);
                    }
                }
            }
        }
    }
    return 0;
}

void saveRawPBM(const char* filename, uint8_t* buffer, int width, int height){
    FILE* f = fopen(filename, "wb");

    fprintf(f, "P4\n%d %d \n", width, height);

    int bufferSize = (width*height)/8;
    fwrite(buffer, 1, bufferSize, f);

    fclose(f);
}
```

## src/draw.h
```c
#ifndef DRAW_H
#define DRAW_H

#include "system_state.h"

int displayCard(card_record_t cardData);
int displayErr(char *errMsg);

#endif
```

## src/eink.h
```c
#ifndef EINK_H
#define EINK_H

#include <zephyr/drivers/spi.h>
#include <zephyr/drivers/gpio.h>
#include <stdint.h>
#include <stdlib.h>



#ifndef CARD_RECORD
#define CARD_RECORD
#define MAX_NAME_LEN 20
#define MAX_LAST_FOUR_LEN 5 // 4 digits + null terminator
#define MAX_ENC_PAN_LEN 44 // update this and 2 below once length is finalized (i can't test encryption rn)
#define MAX_ENC_CVV_LEN 24  
#define MAX_ENC_EXP_LEN 24  
typedef struct {
    bool valid;
    char first_name[MAX_NAME_LEN];
    char last_name[MAX_NAME_LEN];
    char last_four[MAX_LAST_FOUR_LEN];
    
    uint8_t enc_pan[MAX_ENC_PAN_LEN];
    uint8_t enc_pan_len;
    
    uint8_t enc_cvv[MAX_ENC_CVV_LEN];
    uint8_t enc_cvv_len;
    
    uint8_t enc_exp[MAX_ENC_EXP_LEN];
    uint8_t enc_exp_len;
} card_record_t;

#endif // CARD_RECORD


// Display resolution
#define EPD_WIDTH       122
#define EPD_HEIGHT      250
#define IMG_BUF_SIZE ((EPD_WIDTH % 8 == 0)? (EPD_WIDTH / 8 ): (EPD_WIDTH / 8 + 1)) * EPD_HEIGHT


#define FULL_MODE			0
#define FAST_MODE			1
#define PART_MODE			2

#define SPIOP      SPI_WORD_SET(8) | SPI_TRANSFER_MSB | SPI_OP_MODE_MASTER 
#define LOW       0
#define HIGH      1

// static const struct gpio_dt_spec dc_pin;
// static const struct gpio_dt_spec busy_pin;
// static const struct gpio_dt_spec reset_pin;
// extern int dc_pin;
// extern int busy_pin;
// extern int reset_pin;

// extern int count;
// extern int bufwidth;
// extern int bufheight;



int eink_init(void);
void SpiTransfer(unsigned char data);
void DigitalWrite(int pin, int value);
int DigitalRead(int pin);


void SendCommand(unsigned char command);
void SendData(unsigned char data);
void WaitUntilIdle(void);
void SetWindows(unsigned char Xstart, unsigned char Ystart, unsigned char Xend, unsigned char Yend);
void SetCursor(unsigned char Xstart, unsigned char Ystart);
int Init(char Mode);
void Reset(void);
void Clear(void);
void Display(unsigned char* frame_buffer);
void DisplayPart(unsigned char* frame_buffer);
void Display1(unsigned char* frame_buffer);
void Display_Fast(unsigned char* frame_buffer);   
void DisplayPartBaseImage(unsigned char* frame_buffer);
void DisplayPart(unsigned char* frame_buffer);
void ClearPart(void);
void DisplayPartial(int x_start, int y_start, int x_end, int y_end, unsigned char* frame_buffer);
void Sleep();

#endif // EINK_H
```
